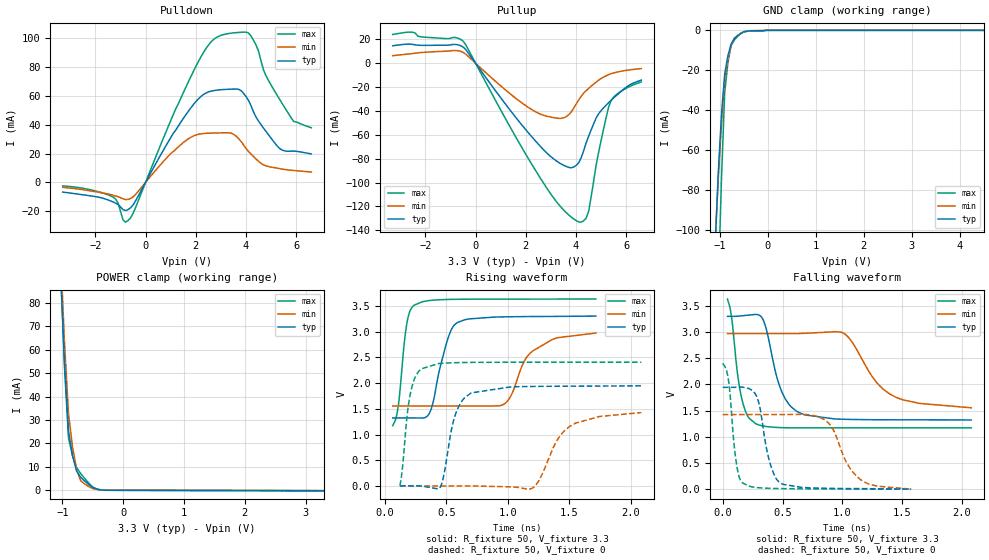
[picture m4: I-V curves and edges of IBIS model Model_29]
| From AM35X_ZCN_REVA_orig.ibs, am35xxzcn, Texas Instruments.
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| Model based on original model for BQ1833DV40DTPBFHP18LL_7LM
|   Sub model HP18LL_7LM_PU_ON_3P3
[model]   Model_29
|[Description]  3.3V-I/O-PU-X
|[Input Load]   PU
|[Output Drive]
|Voltage   3.3V
|Mode   I/O
Model_type   I/O
Polarity   Non-Inverting
Enable   Active-Low
Vinl =  0.8V
Vinh =  2V
Cref =  15pF
Rref =  100.0000M
Vref =  0V
Vmeas =  1.65
C_comp   1.861386p   1.655853p   1.968812p
[Model Spec]
Vinl   0.8V   0.8V   0.8V
Vinh   2V   2V   2V
[Temperature Range]   25   125   -40
[Voltage Range]   3.3   2.97   3.63
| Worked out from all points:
|   slope of the pulldown table from 0 to 0.495 V, typ, clamps not added: 31.5 ohm
|   slope of the pullup table from 0 to 0.495 V, typ, clamps not added: 34.2 ohm
|   GND clamp passes 1 mA (typ) near -0.52 V on its own axis
|   POWER clamp passes 1 mA (typ) near -0.48 V on its own axis
|   rising waveform, R_fixture 50, V_fixture 3.3: 20-80 % time 118ps typ, 207ps min, 63.1ps max; typ from 1.32 V to 3.3 V
|   rising waveform, R_fixture 50, V_fixture 0: 20-80 % time 110ps typ, 205ps min, 71.8ps max; typ from 0.003 V to 1.95 V
|   falling waveform, R_fixture 50, V_fixture 3.3: 20-80 % time 145ps typ, 269ps min, 84.6ps max; typ from 3.3 V to 1.32 V
|   falling waveform, R_fixture 50, V_fixture 0: 20-80 % time 99.2ps typ, 182ps min, 58.2ps max; typ from 1.95 V to 0.003 V
[POWER_clamp]
-3.3V     2.432A     2.868A     2.62A
-1.033V   95.06mA    103.2mA    96.82mA
-966.7mV  54.89mA    63.36mA    52.99mA
-900mV    25.17mA    32.73mA    22.29mA
-833.3mV  14.71mA    18.41mA    14.68mA
-766.7mV  8.177mA    8.865mA    9.637mA
-700mV    5.568mA    4.096mA    7.172mA
-566.7mV  2.478mA    1.576mA    3.075mA
-500mV    1.182mA    756.3uA    1.336mA
-433.3mV  529.8uA    361.2uA    561.7uA
-300mV    28.38uA    26.91uA    30.81uA
3.3V      -177.5uA   -143.5uA   -277.3uA
[Pulldown]
-3.3V     -6.746mA   -3.451mA   -2.449mA
-1.3V     -13.56mA   -8.907mA   -10.16mA
-900mV    -18.87mA   -11.41mA   -25.91mA
-700mV    -18.91mA   -11.83mA   -26.47mA
2.1V      57.81mA    33.29mA    83.64mA
2.6V      63.23mA    34.14mA    97.21mA
3.2V      64.44mA    34.35mA    102.8mA
3.7V      64.57mA    30.45mA    103.9mA
4.1V      56.78mA    21.39mA    103.6mA
5.3V      24.08mA    9.65mA     58.63mA
5.9V      21.68mA    8.241mA    42.2mA
6.6V      19.7mA     7.18mA     37.87mA
[Pullup]
-3.3V     14.58mA    6.278mA    24.04mA
-2.5V     15.74mA    8.096mA    25.94mA
-500mV    13.62mA    9.123mA    18.54mA
1.5V      -42.71mA   -27.72mA   -58.09mA
2.6V      -70.12mA   -42.82mA   -96.97mA
3.5V      -85.45mA   -45.81mA   -122.8mA
4.1V      -83.58mA   -31.01mA   -132.9mA
4.4V      -66.93mA   -23.06mA   -130mA
4.5V      -61.28mA   -21.14mA   -124.2mA
4.9V      -42.38mA   -14.19mA   -74.57mA
5.4V      -31.02mA   -8.795mA   -31.2mA
6.6V      -14.18mA   -4.519mA   -15.68mA
[GND_clamp]
-3.3V     -2.048A    -1.805A    -3.667A
-1.1V     -108.7mA   -106.5mA   -191.5mA
-1.033V   -71.21mA   -74.08mA   -127.8mA
-966.7mV  -42.29mA   -46.88mA   -74.43mA
-900mV    -21.88mA   -24.94mA   -31.36mA
-833.3mV  -12.76mA   -14.54mA   -16.38mA
-766.7mV  -6.884mA   -7.551mA   -7.57mA
-700mV    -4.265mA   -3.97mA    -4.926mA
-566.7mV  -1.605mA   -1.575mA   -1.664mA
-500mV    -702.9uA   -787.9uA   -705.8uA
-33.33mV  0A         0A         0A
6.6V      0A         0A         0A
[Ramp]
dV/dt_f  1.2088099/0.14590382n 0.87076856/0.2713783n   1.494596/85.099489p
dV/dt_r  1.2003306/0.11075094n 0.89198535/0.20709846n  1.4642058/72.131359p
R_load = 50
[Rising Waveform]
R_fixture = 50
V_fixture = 3.3
V_fixture_min = 2.97
V_fixture_max = 3.63
63.87ps   1.322V     1.555V     1.171V
110.7ps   1.322V     1.555V     1.581V
178.9ps   1.322V     1.555V     3.152V
238.9ps   1.322V     1.555V     3.512V
368.7ps   1.445V     1.555V     3.603V
503.1ps   2.788V     1.555V     3.622V
589.4ps   3.174V     1.555V     3.626V
964.1ps   3.284V     1.583V     3.629V
1.206ns   3.291V     2.627V     3.63V
1.716ns   3.3V       2.97V      3.63V
[Rising Waveform]
R_fixture = 50
V_fixture = 0
V_fixture_min = 0
V_fixture_max = 0
122.9ps   3.381mV    2.142mV    4.746mV
203.4ps   3.56mV     2.144mV    1.74V
295.9ps   2.256mV    2.144mV    2.275V
450.9ps   -21.78mV   2.135mV    2.38V
570.1ps   1.361V     2.168mV    2.395V
702ps     1.809V     2.291mV    2.401V
1.19ns    1.933V     -51.43mV   2.404V
1.403ns   1.937V     897.4mV    2.404V
1.508ns   1.939V     1.165V     2.404V
2.086ns   1.946V     1.426V     2.404V
[Falling Waveform]
R_fixture = 50
V_fixture = 3.3
V_fixture_min = 2.97
V_fixture_max = 3.63
39.93ps   3.3V       2.97V      3.63V
72.08ps   3.3V       2.97V      3.316V
156.2ps   3.31V      2.97V      1.761V
275.9ps   3.337V     2.97V      1.251V
348.3ps   3.176V     2.97V      1.203V
490.2ps   1.882V     2.97V      1.177V
620.8ps   1.483V     2.971V     1.172V
1.015ns   1.336V     2.973V     1.172V
1.47ns    1.326V     1.735V     1.171V
2.078ns   1.322V     1.555V     1.171V
[Falling Waveform]
R_fixture = 50
V_fixture = 0
V_fixture_min = 0
V_fixture_max = 0
0s        1.946V     1.426V     2.404V
43.48ps   1.946V     1.427V     2.148V
108.7ps   1.947V     1.427V     587.1mV
165.5ps   1.95V      1.426V     120.4mV
286ps     1.76V      1.427V     32.7mV
399.9ps   464.7mV    1.427V     17.69mV
501.6ps   95.28mV    1.426V     12.69mV
867.7ps   19.39mV    1.298V     6.151mV
1.171ns   12.09mV    154.6mV    5.005mV
1.575ns   3.381mV    2.142mV    4.746mV
